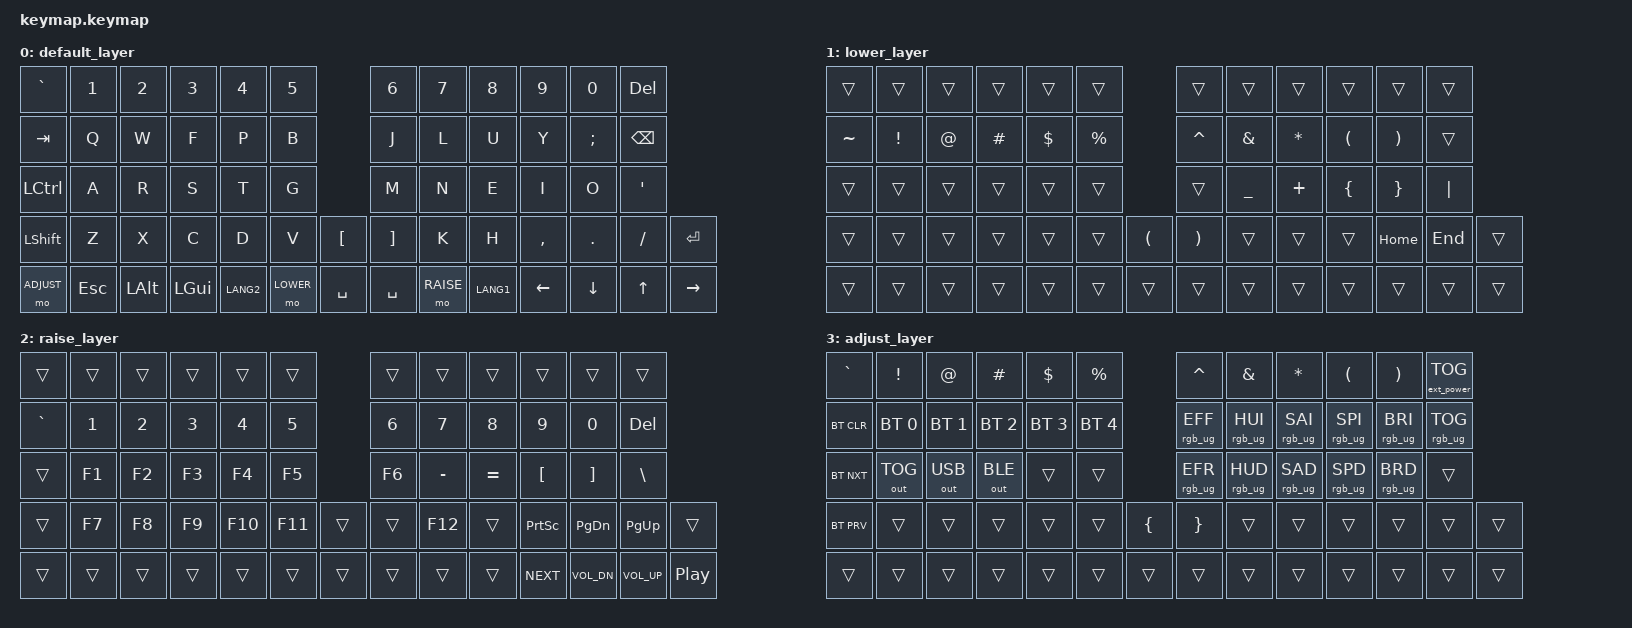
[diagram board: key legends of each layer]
/ {
    keymap {
        compatible = "zmk,keymap";

        default_layer {
            bindings = <
                &kp GRAVE  &kp N1     &kp N2     &kp N3     &kp N4     &kp N5                     &kp N6     &kp N7     &kp N8     &kp N9     &kp N0     &kp DEL
                &kp TAB    &kp Q      &kp W      &kp F      &kp P      &kp B                      &kp J      &kp L      &kp U      &kp Y      &kp SCLN   &kp BSPC
                &kp LCTRL  &kp A      &kp R      &kp S      &kp T      &kp G                      &kp M      &kp N      &kp E      &kp I      &kp O      &kp SQT
                &kp LSHFT  &kp Z      &kp X      &kp C      &kp D      &kp V      &kp LBKT        &kp RBKT   &kp K      &kp H      &kp COMMA  &kp DOT    &kp SLASH &kp RET
                &mo ADJUST &kp ESC    &kp LALT   &kp LGUI   &kp LANG2  &mo LOWER  &kp SPACE       &kp SPACE  &mo RAISE  &kp LANG1  &kp LEFT   &kp DOWN   &kp UP    &kp RIGHT
            >;
        };

        lower_layer {
            bindings = <
                &trans     &trans     &trans     &trans     &trans     &trans                    &trans     &trans     &trans     &trans     &trans     &trans
                &kp TILDE  &kp EXCL   &kp AT     &kp HASH   &kp DLLR   &kp PRCNT                 &kp CARET  &kp AMPS   &kp ASTRK  &kp LPAR   &kp RPAR   &trans
                &trans     &trans     &trans     &trans     &trans     &trans                    &trans     &kp UNDER  &kp PLUS   &kp LBRC   &kp RBRC   &kp PIPE
                &trans     &trans     &trans     &trans     &trans     &trans     &kp LPAR       &kp RPAR   &trans     &trans     &trans     &kp HOME   &kp END   &trans
                &trans     &trans     &trans     &trans     &trans     &trans     &trans         &trans     &trans     &trans     &trans     &trans     &trans    &trans
            >;
        };

        raise_layer {
            bindings = <
                &trans     &trans     &trans     &trans     &trans     &trans                    &trans     &trans     &trans     &trans     &trans     &trans
                &kp GRAVE  &kp N1     &kp N2     &kp N3     &kp N4     &kp N5                     &kp N6     &kp N7     &kp N8     &kp N9     &kp N0     &kp DEL
                &trans     &kp F1     &kp F2     &kp F3     &kp F4     &kp F5                     &kp F6     &kp MINUS  &kp EQUAL  &kp LBKT   &kp RBKT   &kp BSLH
                &trans     &kp F7     &kp F8     &kp F9     &kp F10    &kp F11    &trans         &trans     &kp F12    &trans     &kp PSCRN  &kp PG_DN  &kp PG_UP &trans
                &trans     &trans     &trans     &trans     &trans     &trans     &trans         &trans     &trans     &trans     &kp C_NEXT &kp C_VOL_DN &kp C_VOL_UP &kp C_PP
            >;
        };

        adjust_layer {
            bindings = <
                &kp GRAVE  &kp EXCL   &kp AT     &kp HASH   &kp DLLR   &kp PRCNT                 &kp CARET  &kp AMPS   &kp ASTRK  &kp LPAR   &kp RPAR   &ext_power EP_TOG
                &bt BT_CLR &bt BT_SEL 0 &bt BT_SEL 1 &bt BT_SEL 2 &bt BT_SEL 3 &bt BT_SEL 4      &rgb_ug RGB_EFF &rgb_ug RGB_HUI &rgb_ug RGB_SAI &rgb_ug RGB_SPI &rgb_ug RGB_BRI &rgb_ug RGB_TOG
                &bt BT_NXT &out OUT_TOG &out OUT_USB &out OUT_BLE &trans     &trans              &rgb_ug RGB_EFR &rgb_ug RGB_HUD &rgb_ug RGB_SAD &rgb_ug RGB_SPD &rgb_ug RGB_BRD &trans
                &bt BT_PRV &trans     &trans     &trans     &trans     &trans     &kp LBRC       &kp RBRC   &trans     &trans     &trans     &trans     &trans     &trans
                &trans     &trans     &trans     &trans     &trans     &trans     &trans         &trans     &trans     &trans     &trans     &trans     &trans     &trans
            >;
        };
    };
};
